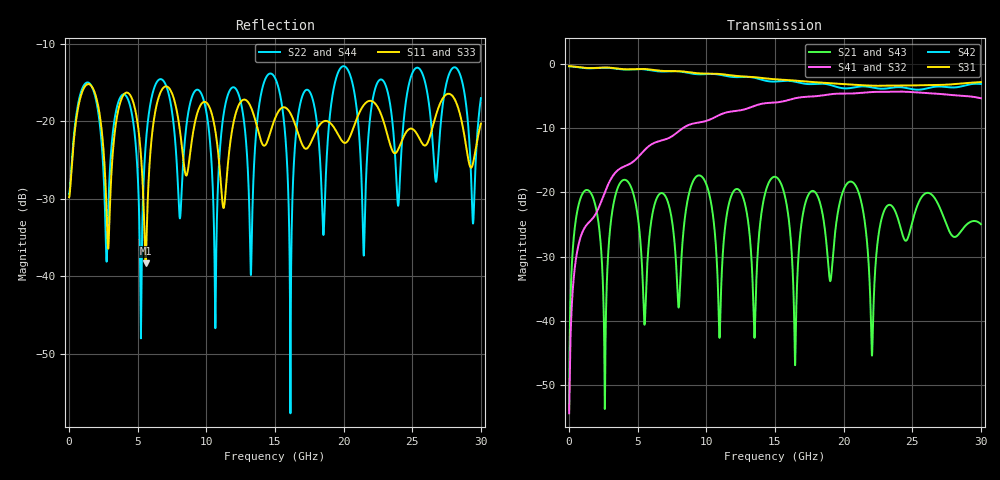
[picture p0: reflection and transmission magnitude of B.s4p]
!diffpair-meanders B (untuned 180-degree U-bend), mesh medium
!ports 1 P_near 2 N_near 3 P_far 4 N_far; openEMS FDTD, lumped 50 ohm ports
# Hz S RI R 50.0
! Port[1] = P_near
! Port[2] = N_near
! Port[3] = P_far
! Port[4] = N_far
!freq ReS11 ImS11 ReS12 ImS12 ReS13 ImS13
! ReS14 ImS14
! ReS21 ImS21 ReS22 ImS22 ReS23 ImS23
! ReS24 ImS24
! ReS31 ImS31 ReS32 ImS32 ReS33 ImS33
! ReS34 ImS34
! ReS41 ImS41 ReS42 ImS42 ReS43 ImS43
! ReS44 ImS44
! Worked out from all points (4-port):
!   3000 points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, 10 MHz to 30 GHz, reference 50 ohm
!   strongest paths, dB at 10 MHz, 7.51 GHz, 15.01 GHz, 22.51 GHz, 30 GHz:
!     S31: -0.4, -1.2, -2.4, -3.4, -2.9
!     S42: -0.4, -1.2, -2.8, -3.9, -3.2
!     S41: -54.3, -11.3, -6.0, -4.4, -5.4
!     S32: -54.3, -11.3, -6.1, -4.4, -5.4
!     S21: -53.8, -24.5, -17.6, -27.2, -24.9
!     S43: -53.8, -24.5, -17.6, -27.3, -24.9
!   lowest |S11| = -38.3 dB at 5.58 GHz (marker M1), VSWR 1.02, Z = 51.2 + j0.154 ohm
!   |S11| at or under -10 dB: start of sweep to end of sweep
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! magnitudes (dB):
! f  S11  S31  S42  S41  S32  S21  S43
! 10 MHz  -29.8  -0.4  -0.4  -54.3  -54.3  -53.8  -53.8
! 1.14 GHz  -15.6  -0.6  -0.7  -25.5  -25.5  -19.8  -19.8
! 5.58 GHz  -38.3  -0.8  -0.9  -13.3  -13.3  -37.3  -37.2
! 7.01 GHz  -15.5  -1.1  -1.2  -11.8  -11.8  -20.5  -20.6
! 10.66 GHz  -21.2  -1.6  -1.6  -8.3  -8.3  -27.2  -27.0
! 11.89 GHz  -21.0  -1.8  -2.1  -7.4  -7.4  -20.2  -20.3
! 30 GHz  -20.3  -2.9  -3.2  -5.4  -5.4  -24.9  -24.9
